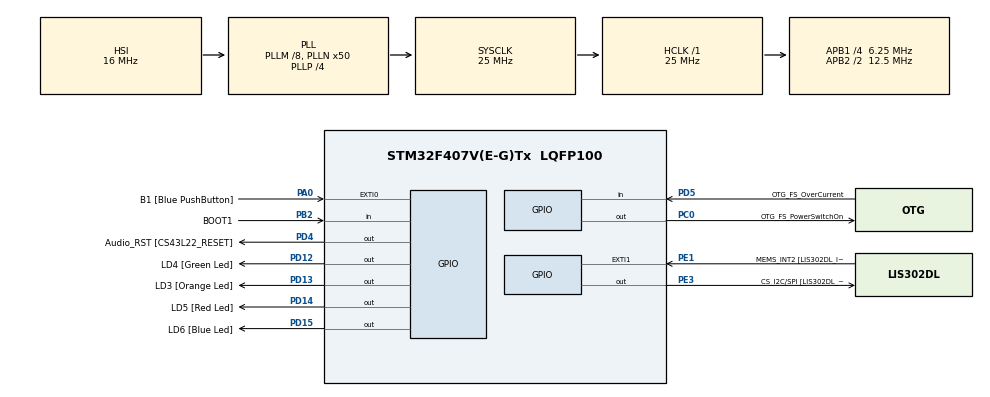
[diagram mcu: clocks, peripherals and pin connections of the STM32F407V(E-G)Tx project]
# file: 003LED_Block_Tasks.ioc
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Mcu.Family=STM32F4
PA11.GPIO_Speed=GPIO_SPEED_FREQ_LOW
PC3.GPIO_Mode=GPIO_MODE_AF_PP
PD12.GPIO_Label=LD4 [Green Led]
PH0-OSC_IN.Signal=RCC_OSC_IN
VP_SYS_VS_tim6.Mode=TIM6
RCC.CortexFreq_Value=25000000
PC10.GPIO_PuPd=GPIO_NOPULL
PB10.GPIO_Speed=GPIO_SPEED_FREQ_LOW
PB6.GPIO_Mode=GPIO_MODE_AF_OD
PB10.GPIO_PuPd=GPIO_NOPULL
NVIC.TIM6_DAC_IRQn=true\:0\:0\:false\:false\:true\:false\:true
PA10.GPIO_PuPd=GPIO_NOPULL
PD15.GPIO_Speed=GPIO_SPEED_FREQ_LOW
PC10.Signal=I2S3_CK
PC12.Signal=I2S3_SD
PA14.GPIO_Label=SWCLK
PA7.GPIO_Mode=GPIO_MODE_AF_PP
PC0.GPIO_Label=OTG_FS_PowerSwitchOn
PA6.GPIO_Label=SPI1_MISO [LIS302DL_SDO]
PB6.GPIO_Label=Audio_SCL [CS43L22_SCL]
PC10.GPIO_Speed=GPIO_SPEED_FREQ_LOW
PA11.GPIO_PuPd=GPIO_NOPULL
PC15-OSC32_OUT.GPIO_Label=PC15-OSC32_OUT
PC3.GPIO_Speed=GPIO_SPEED_FREQ_LOW
RCC.SYSCLKSource=RCC_SYSCLKSOURCE_PLLCLK
ProjectManager.StackSize=0x400
PA6.GPIO_Mode=GPIO_MODE_AF_PP
PD13.Signal=GPIO_Output
PD14.GPIO_Speed=GPIO_SPEED_FREQ_LOW
PA12.Signal=USB_OTG_FS_DP
RCC.HCLKFreq_Value=25000000
PD4.Signal=GPIO_Output
RCC.APB2TimFreq_Value=25000000
PB6.Signal=I2C1_SCL
PC7.Signal=I2S3_MCK
PC3.Signal=I2S2_SD
PE1.Signal=GPXTI1
RCC.AHBFreq_Value=25000000
PH0-OSC_IN.GPIO_Label=PH0-OSC_IN
PA9.GPIO_Mode=GPIO_MODE_INPUT
RCC.HSE_VALUE=8000000
PA4.GPIO_PuPd=GPIO_NOPULL
PB2.Signal=GPIO_Input
PA4.GPIO_Speed=GPIO_SPEED_FREQ_LOW
PA6.GPIO_PuPd=GPIO_NOPULL
PA5.GPIO_PuPd=GPIO_NOPULL
PA10.GPIO_Label=OTG_FS_ID
PC7.GPIO_Mode=GPIO_MODE_AF_PP
PD5.GPIO_Mode=GPIO_MODE_INPUT
PD14.GPIO_PuPd=GPIO_NOPULL
PB2.GPIO_PuPd=GPIO_NOPULL
PD13.GPIO_Label=LD3 [Orange Led]
Mcu.Package=LQFP100
PB9.Signal=I2C1_SDA
PA6.Signal=SPI1_MISO
NVIC.TimeBase=TIM6_DAC_IRQn
PD12.Signal=GPIO_Output
PD5.GPIO_Label=OTG_FS_OverCurrent
PD15.GPIO_PuPd=GPIO_NOPULL
NVIC.TimeBaseIP=TIM6
PA10.Signal=USB_OTG_FS_ID
PB9.GPIO_PuPd=GPIO_NOPULL
PA10.GPIO_Speed=GPIO_SPEED_FREQ_LOW
RCC.APB2CLKDivider=RCC_HCLK_DIV2
PB9.GPIO_Speed=GPIO_SPEED_FREQ_LOW
RCC.APB1TimFreq_Value=12500000
PC14-OSC32_IN.GPIO_Label=PC14-OSC32_IN
PC12.GPIO_PuPd=GPIO_NOPULL
PA6.GPIO_Speed=GPIO_SPEED_FREQ_LOW
PC0.GPIO_PuPd=GPIO_NOPULL
PA12.GPIO_PuPd=GPIO_NOPULL
PA4.GPIO_Label=I2S3_WS [CS43L22_LRCK]
PD15.Signal=GPIO_Output
PC0.PinState=GPIO_PIN_SET
PA12.GPIO_Speed=GPIO_SPEED_FREQ_LOW
PB3.GPIO_Label=SWO
PD12.GPIO_Speed=GPIO_SPEED_FREQ_LOW
PD15.GPIO_Label=LD6 [Blue Led]
PB9.GPIO_Label=Audio_SDA [CS43L22_SDA]
PC10.GPIO_Label=I2S3_SCK [CS43L22_SCLK]
PA9.GPIO_Label=VBUS_FS
PB6.GPIO_PuPd=GPIO_NOPULL
PA11.GPIO_Label=OTG_FS_DM
PE1.GPIO_PuPd=GPIO_NOPULL
PD5.Signal=GPIO_Input
PC0.Signal=GPIO_Output
PE1.GPIO_ModeDefaultEXTI=GPIO_MODE_EVT_RISING
RCC.APB1CLKDivider=RCC_HCLK_DIV4
PC14-OSC32_IN.Signal=RCC_OSC32_IN
PA9.GPIO_PuPd=GPIO_NOPULL
PA12.GPIO_Label=OTG_FS_DP
PA0-WKUP.GPIO_Label=B1 [Blue PushButton]
PA0-WKUP.Signal=GPXTI0
PA10.GPIO_Mode=GPIO_MODE_AF_PP
PA13.Signal=SYS_JTMS-SWDIO
PC10.GPIO_Mode=GPIO_MODE_AF_PP
PD4.GPIO_PuPd=GPIO_NOPULL
PC0.GPIO_Speed=GPIO_SPEED_FREQ_LOW
PB10.GPIO_Mode=GPIO_MODE_AF_PP
ProjectManager.TargetToolchain=STM32CubeIDE
PB10.GPIO_Label=CLK_IN [MP45DT02_CLK]
PA9.Signal=USB_OTG_FS_VBUS
PC7.GPIO_PuPd=GPIO_NOPULL
RCC.LSE_VALUE=32768
PC15-OSC32_OUT.Signal=RCC_OSC32_OUT
PA7.GPIO_PuPd=GPIO_NOPULL
PB10.Signal=I2S2_CK
PA5.Signal=SPI1_SCK
board=STM32F407G-DISC1
PD13.GPIO_Speed=GPIO_SPEED_FREQ_LOW
PC7.GPIO_Speed=GPIO_SPEED_FREQ_LOW
RCC.VCOOutputFreq_Value=100000000
PE1.GPIO_Label=MEMS_INT2 [LIS302DL_INT2]
PA7.GPIO_Speed=GPIO_SPEED_FREQ_LOW
PB9.GPIO_Mode=GPIO_MODE_AF_OD
PA12.GPIO_Mode=GPIO_MODE_AF_PP
PA4.GPIO_Mode=GPIO_MODE_AF_PP
RCC.APB2Freq_Value=12500000
PB2.GPIO_Mode=GPIO_MODE_INPUT
PD4.GPIO_Label=Audio_RST [CS43L22_RESET]
PD4.GPIO_Speed=GPIO_SPEED_FREQ_LOW
PE3.GPIO_PuPd=GPIO_NOPULL
PH1-OSC_OUT.Signal=RCC_OSC_OUT
PD13.GPIO_PuPd=GPIO_NOPULL
PD5.GPIO_PuPd=GPIO_NOPULL
PD14.GPIO_Label=LD5 [Red Led]
PH1-OSC_OUT.GPIO_Label=PH1-OSC_OUT
Mcu.Name=STM32F407V(E-G)Tx
PA13.GPIO_Label=SWDIO
PC7.GPIO_Label=I2S3_MCK [CS43L22_MCLK]
PD14.Signal=GPIO_Output
RCC.48MHZClocksFreq_Value=14285714.285714285
PB3.Signal=SYS_JTDO-SWO
PA4.Signal=I2S3_WS
RCC.SYSCLKFreq_VALUE=25000000
PC12.GPIO_Mode=GPIO_MODE_AF_PP
PA7.GPIO_Label=SPI1_MOSI [LIS302DL_SDA/SDI/SDO]
PA5.GPIO_Label=SPI1_SCK [LIS302DL_SCL/SPC]
PE3.GPIO_Speed=GPIO_SPEED_FREQ_LOW
PC12.GPIO_Label=I2S3_SD [CS43L22_SDIN]
PA11.Signal=USB_OTG_FS_DM
PA14.Signal=SYS_JTCK-SWCLK
PB2.GPIO_Label=BOOT1
ProjectManager.HeapSize=0x200
RCC.HSI_VALUE=16000000
RCC.PLLP=RCC_PLLP_DIV4
PA5.GPIO_Speed=GPIO_SPEED_FREQ_LOW
RCC.PLLQ=7
NVIC.PriorityGroup=NVIC_PRIORITYGROUP_4
RCC.PLLM=8
RCC.PLLN=50
PE3.Signal=GPIO_Output
PE3.GPIO_Label=CS_I2C/SPI [LIS302DL_CS_I2C/SPI]
PC3.GPIO_Label=PDM_OUT [MP45DT02_DOUT]
PA11.GPIO_Mode=GPIO_MODE_AF_PP
PB6.GPIO_Speed=GPIO_SPEED_FREQ_LOW
RCC.APB1Freq_Value=6250000
PA5.GPIO_Mode=GPIO_MODE_AF_PP
PC12.GPIO_Speed=GPIO_SPEED_FREQ_LOW
PC3.GPIO_PuPd=GPIO_NOPULL
PD12.GPIO_PuPd=GPIO_NOPULL
PA7.Signal=SPI1_MOSI

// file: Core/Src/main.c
/* USER CODE END Header */
#include "main.h"

/* USER CODE BEGIN Includes */
#include <stdio.h>
#include "FreeRTOS.h"
#include "task.h"
/* USER CODE END Includes */

/* USER CODE BEGIN PTD */
static void led_green_handler(void* parameters);
static void led_red_handler(void* parameters);
static void led_orange_handler(void* parameters);

/* USER CODE END PTD */

/* USER CODE BEGIN PM */

#define DWT_CTRL (*(volatile uint32_t*)0xE0001000)

/* USER CODE END PM */

void SystemClock_Config(void);
static void MX_GPIO_Init(void);

int main(void)
{
  /* USER CODE BEGIN 1 */

	TaskHandle_t task1_handle;
	TaskHandle_t task2_handle;
	TaskHandle_t task3_handle;
	BaseType_t status;

  /* USER CODE END 1 */

  /* MCU Configuration--------------------------------------------------------*/

  /* Reset of all peripherals, Initializes the Flash interface and the Systick. */
  HAL_Init();

  /* Configure the system clock */
  SystemClock_Config(); /* System configuration and clock settings*/

  /* Initialize all configured peripherals */
  MX_GPIO_Init();
  /* USER CODE BEGIN 2 */

  // Enable the CYCCNT Counter

    DWT_CTRL |= (1 << 0);

    SEGGER_SYSVIEW_Conf(); /*A program to examine switching and task handling */

    SEGGER_SYSVIEW_Start();

    status = xTaskCreate(led_green_handler, "LED_Green_Task", 200, NULL, 2, &task1_handle);

    configASSERT(status == pdPASS);

    status = xTaskCreate(led_red_handler, "LED_Orange_Task", 200, NULL, 2, &task2_handle);

    configASSERT(status == pdPASS);

    status = xTaskCreate(led_orange_handler, "LED_Red_Task", 200, NULL, 2, &task3_handle);

    configASSERT(status == pdPASS);

    //starting freeRTOS scheduler
    vTaskStartScheduler();

  /* USER CODE END 2 */

  /* Infinite loop */
  while (1)
  {

  }
}

void SystemClock_Config(void)
{
  RCC_OscInitTypeDef RCC_OscInitStruct = {0};
  RCC_ClkInitTypeDef RCC_ClkInitStruct = {0};

  /** Configure the main internal regulator output voltage
  */
  __HAL_RCC_PWR_CLK_ENABLE();
  __HAL_PWR_VOLTAGESCALING_CONFIG(PWR_REGULATOR_VOLTAGE_SCALE1);
  /** Initializes the RCC Oscillators according to the specified parameters
  * in the RCC_OscInitTypeDef structure.
  */
  RCC_OscInitStruct.OscillatorType = RCC_OSCILLATORTYPE_HSI;
  RCC_OscInitStruct.HSIState = RCC_HSI_ON;
  RCC_OscInitStruct.HSICalibrationValue = RCC_HSICALIBRATION_DEFAULT;
  RCC_OscInitStruct.PLL.PLLState = RCC_PLL_ON;
  RCC_OscInitStruct.PLL.PLLSource = RCC_PLLSOURCE_HSI;
  RCC_OscInitStruct.PLL.PLLM = 8;
  RCC_OscInitStruct.PLL.PLLN = 50;
  RCC_OscInitStruct.PLL.PLLP = RCC_PLLP_DIV4;
  RCC_OscInitStruct.PLL.PLLQ = 7;
  if (HAL_RCC_OscConfig(&RCC_OscInitStruct) != HAL_OK)
  {
    Error_Handler();
  }
  /** Initializes the CPU, AHB and APB buses clocks
  */
  RCC_ClkInitStruct.ClockType = RCC_CLOCKTYPE_HCLK|RCC_CLOCKTYPE_SYSCLK
                              |RCC_CLOCKTYPE_PCLK1|RCC_CLOCKTYPE_PCLK2;
  RCC_ClkInitStruct.SYSCLKSource = RCC_SYSCLKSOURCE_PLLCLK;
  RCC_ClkInitStruct.AHBCLKDivider = RCC_SYSCLK_DIV1;
  RCC_ClkInitStruct.APB1CLKDivider = RCC_HCLK_DIV4;
  RCC_ClkInitStruct.APB2CLKDivider = RCC_HCLK_DIV2;

  if (HAL_RCC_ClockConfig(&RCC_ClkInitStruct, FLASH_LATENCY_0) != HAL_OK)
  {
    Error_Handler();
  }
}

static void MX_GPIO_Init(void)
{
  GPIO_InitTypeDef GPIO_InitStruct = {0};

  /* GPIO Ports Clock Enable */
  __HAL_RCC_GPIOE_CLK_ENABLE();
  __HAL_RCC_GPIOC_CLK_ENABLE();
  __HAL_RCC_GPIOH_CLK_ENABLE();
  __HAL_RCC_GPIOA_CLK_ENABLE();
  __HAL_RCC_GPIOB_CLK_ENABLE();
  __HAL_RCC_GPIOD_CLK_ENABLE();

  /*Configure GPIO pin Output Level */
  HAL_GPIO_WritePin(CS_I2C_SPI_GPIO_Port, CS_I2C_SPI_Pin, GPIO_PIN_RESET);

  /*Configure GPIO pin Output Level */
  HAL_GPIO_WritePin(OTG_FS_PowerSwitchOn_GPIO_Port, OTG_FS_PowerSwitchOn_Pin, GPIO_PIN_SET);

  /*Configure GPIO pin Output Level */
  HAL_GPIO_WritePin(GPIOD, LD4_Pin|LD3_Pin|LD5_Pin|LD6_Pin
                          |Audio_RST_Pin, GPIO_PIN_RESET);

  /*Configure GPIO pin : CS_I2C_SPI_Pin */
  GPIO_InitStruct.Pin = CS_I2C_SPI_Pin;
  GPIO_InitStruct.Mode = GPIO_MODE_OUTPUT_PP;
  GPIO_InitStruct.Pull = GPIO_NOPULL;
  GPIO_InitStruct.Speed = GPIO_SPEED_FREQ_LOW;
  HAL_GPIO_Init(CS_I2C_SPI_GPIO_Port, &GPIO_InitStruct);

  /*Configure GPIO pin : OTG_FS_PowerSwitchOn_Pin */
  GPIO_InitStruct.Pin = OTG_FS_PowerSwitchOn_Pin;
  GPIO_InitStruct.Mode = GPIO_MODE_OUTPUT_PP;
  GPIO_InitStruct.Pull = GPIO_NOPULL;
  GPIO_InitStruct.Speed = GPIO_SPEED_FREQ_LOW;
  HAL_GPIO_Init(OTG_FS_PowerSwitchOn_GPIO_Port, &GPIO_InitStruct);

  /*Configure GPIO pin : PDM_OUT_Pin */
  GPIO_InitStruct.Pin = PDM_OUT_Pin;
  GPIO_InitStruct.Mode = GPIO_MODE_AF_PP;
  GPIO_InitStruct.Pull = GPIO_NOPULL;
  GPIO_InitStruct.Speed = GPIO_SPEED_FREQ_LOW;
  GPIO_InitStruct.Alternate = GPIO_AF5_SPI2;
  HAL_GPIO_Init(PDM_OUT_GPIO_Port, &GPIO_InitStruct);

  /*Configure GPIO pin : B1_Pin */
  GPIO_InitStruct.Pin = B1_Pin;
  GPIO_InitStruct.Mode = GPIO_MODE_IT_RISING;
  GPIO_InitStruct.Pull = GPIO_NOPULL;
  HAL_GPIO_Init(B1_GPIO_Port, &GPIO_InitStruct);

  /*Configure GPIO pin : I2S3_WS_Pin */
  GPIO_InitStruct.Pin = I2S3_WS_Pin;
  GPIO_InitStruct.Mode = GPIO_MODE_AF_PP;
  GPIO_InitStruct.Pull = GPIO_NOPULL;
  GPIO_InitStruct.Speed = GPIO_SPEED_FREQ_LOW;
  GPIO_InitStruct.Alternate = GPIO_AF6_SPI3;
  HAL_GPIO_Init(I2S3_WS_GPIO_Port, &GPIO_InitStruct);

  /*Configure GPIO pins : SPI1_SCK_Pin SPI1_MISO_Pin SPI1_MOSI_Pin */
  GPIO_InitStruct.Pin = SPI1_SCK_Pin|SPI1_MISO_Pin|SPI1_MOSI_Pin;
  GPIO_InitStruct.Mode = GPIO_MODE_AF_PP;
  GPIO_InitStruct.Pull = GPIO_NOPULL;
  GPIO_InitStruct.Speed = GPIO_SPEED_FREQ_LOW;
  GPIO_InitStruct.Alternate = GPIO_AF5_SPI1;
  HAL_GPIO_Init(GPIOA, &GPIO_InitStruct);

  /*Configure GPIO pin : BOOT1_Pin */
  GPIO_InitStruct.Pin = BOOT1_Pin;
  GPIO_InitStruct.Mode = GPIO_MODE_INPUT;
  GPIO_InitStruct.Pull = GPIO_NOPULL;
  HAL_GPIO_Init(BOOT1_GPIO_Port, &GPIO_InitStruct);

  /*Configure GPIO pin : CLK_IN_Pin */
  GPIO_InitStruct.Pin = CLK_IN_Pin;
  GPIO_InitStruct.Mode = GPIO_MODE_AF_PP;
  GPIO_InitStruct.Pull = GPIO_NOPULL;
  GPIO_InitStruct.Speed = GPIO_SPEED_FREQ_LOW;
  GPIO_InitStruct.Alternate = GPIO_AF5_SPI2;
  HAL_GPIO_Init(CLK_IN_GPIO_Port, &GPIO_InitStruct);

  /*Configure GPIO pins : LD4_Pin LD3_Pin LD5_Pin LD6_Pin
                           Audio_RST_Pin */
  GPIO_InitStruct.Pin = LD4_Pin|LD3_Pin|LD5_Pin|LD6_Pin
                          |Audio_RST_Pin;
  GPIO_InitStruct.Mode = GPIO_MODE_OUTPUT_PP;
  GPIO_InitStruct.Pull = GPIO_NOPULL;
  GPIO_InitStruct.Speed = GPIO_SPEED_FREQ_LOW;
  HAL_GPIO_Init(GPIOD, &GPIO_InitStruct);

  /*Configure GPIO pins : I2S3_MCK_Pin I2S3_SCK_Pin I2S3_SD_Pin */
  GPIO_InitStruct.Pin = I2S3_MCK_Pin|I2S3_SCK_Pin|I2S3_SD_Pin;
  GPIO_InitStruct.Mode = GPIO_MODE_AF_PP;
  GPIO_InitStruct.Pull = GPIO_NOPULL;
  GPIO_InitStruct.Speed = GPIO_SPEED_FREQ_LOW;
  GPIO_InitStruct.Alternate = GPIO_AF6_SPI3;
  HAL_GPIO_Init(GPIOC, &GPIO_InitStruct);

  /*Configure GPIO pin : VBUS_FS_Pin */
  GPIO_InitStruct.Pin = VBUS_FS_Pin;
  GPIO_InitStruct.Mode = GPIO_MODE_INPUT;
  GPIO_InitStruct.Pull = GPIO_NOPULL;
  HAL_GPIO_Init(VBUS_FS_GPIO_Port, &GPIO_InitStruct);

  /*Configure GPIO pins : OTG_FS_ID_Pin OTG_FS_DM_Pin OTG_FS_DP_Pin */
  GPIO_InitStruct.Pin = OTG_FS_ID_Pin|OTG_FS_DM_Pin|OTG_FS_DP_Pin;
  GPIO_InitStruct.Mode = GPIO_MODE_AF_PP;
  GPIO_InitStruct.Pull = GPIO_NOPULL;
  GPIO_InitStruct.Speed = GPIO_SPEED_FREQ_LOW;
  GPIO_InitStruct.Alternate = GPIO_AF10_OTG_FS;
  HAL_GPIO_Init(GPIOA, &GPIO_InitStruct);

  /*Configure GPIO pin : OTG_FS_OverCurrent_Pin */
  GPIO_InitStruct.Pin = OTG_FS_OverCurrent_Pin;
  GPIO_InitStruct.Mode = GPIO_MODE_INPUT;
  GPIO_InitStruct.Pull = GPIO_NOPULL;
  HAL_GPIO_Init(OTG_FS_OverCurrent_GPIO_Port, &GPIO_InitStruct);

  /*Configure GPIO pins : Audio_SCL_Pin Audio_SDA_Pin */
  GPIO_InitStruct.Pin = Audio_SCL_Pin|Audio_SDA_Pin;
  GPIO_InitStruct.Mode = GPIO_MODE_AF_OD;
  GPIO_InitStruct.Pull = GPIO_PULLUP;
  GPIO_InitStruct.Speed = GPIO_SPEED_FREQ_LOW;
  GPIO_InitStruct.Alternate = GPIO_AF4_I2C1;
  HAL_GPIO_Init(GPIOB, &GPIO_InitStruct);

  /*Configure GPIO pin : MEMS_INT2_Pin */
  GPIO_InitStruct.Pin = MEMS_INT2_Pin;
  GPIO_InitStruct.Mode = GPIO_MODE_EVT_RISING;
  GPIO_InitStruct.Pull = GPIO_NOPULL;
  HAL_GPIO_Init(MEMS_INT2_GPIO_Port, &GPIO_InitStruct);

}

/* USER CODE BEGIN 4 */
static void led_green_handler(void* parameters)
{
	uint8_t button = HAL_GPIO_ReadPin(GPIOA, B1_Pin);
	while(button == 1)
	{
		//if(button == 1)
		HAL_GPIO_TogglePin(GPIOD, LED_GREEN_PIN);
		vTaskDelay(pdMS_TO_TICKS(1000));
	}
}
static void led_red_handler(void* parameters)
{
	while(1)
	{
		HAL_GPIO_TogglePin(GPIOD, LED_RED_PIN);
		vTaskDelay(pdMS_TO_TICKS(400));

	}
}
static void led_orange_handler(void* parameters)
{
	while(1)
	{
		HAL_GPIO_TogglePin(GPIOD, LED_ORANGE_PIN);
		HAL_GPIO_TogglePin(GPIOD,LD6_Pin);
		vTaskDelay(pdMS_TO_TICKS(800));

	}
}
/* USER CODE END 4 */

 /**
  * @brief  Period elapsed callback in non blocking mode
  * @note   This function is called  when TIM6 interrupt took place, inside
  * HAL_TIM_IRQHandler(). It makes a direct call to HAL_IncTick() to increment
  * a global variable "uwTick" used as application time base.
  * @param  htim : TIM handle
  * @retval None
  */
void HAL_TIM_PeriodElapsedCallback(TIM_HandleTypeDef *htim)
{
  if (htim->Instance == TIM6) {
    HAL_IncTick();
  }
}

void Error_Handler(void)
{
  __disable_irq();
  while (1)
  {
  }
}

/************************ (C) COPYRIGHT STMicroelectronics *****END OF FILE****/
